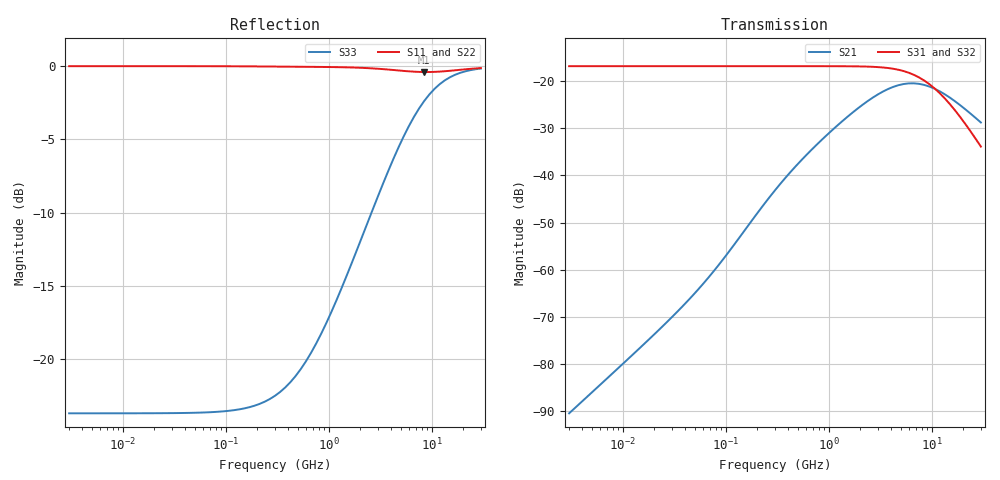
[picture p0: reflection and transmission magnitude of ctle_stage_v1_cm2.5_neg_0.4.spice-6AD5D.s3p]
[Version] 2.0
# Hz S RI R 2000 2000 4000
[Number of Ports] 3
[Reference] 2000 2000 4000
!  Freq  ReS11  ImS11  ReS12  ImS12  ReS13  ImS13  ReS21  ImS21  ReS22  ImS22  ReS23  ImS23  ReS31  ImS31  ReS32  ImS32  ReS33  ImS33
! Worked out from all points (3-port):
!   81 points, 3 MHz to 30 GHz, reference per port
!   strongest paths, dB at 3 MHz, 30 MHz, 300 MHz, 3 GHz, 30 GHz:
!     S31: -16.9, -16.9, -16.9, -17.1, -33.9
!     S32: -16.9, -16.9, -16.9, -17.1, -33.9
!     S21: -90.4, -70.0, -43.2, -22.8, -28.8
!   lowest |S11| = -0.4 dB at 8.455 GHz (marker M1), VSWR 43.47
!   |S11| at or under -10 dB: nowhere
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[Number of Frequencies] 10
[Network Data]
3000000  1 -0.000983  -6.4e-07 3.02e-05  1.71e-08 1.49e-05
         -6.4e-07 3.02e-05  1 -0.000983  -1.71e-08 -1.49e-05
         0.1435 -0.000259  -0.1435 0.000259  0.0655 -0.000391
9486833  1 -0.00311  -6.39e-06 9.59e-05  1.71e-07 4.71e-05
         -6.39e-06 9.59e-05  1 -0.00311  -1.71e-07 -4.71e-05
         0.1435 -0.00082  -0.1435 0.00082  0.0655 -0.00124
2.123837e7  0.9999 -0.00695  -3.18e-05 0.000217  8.59e-07 0.000105
            -3.18e-05 0.000217  0.9999 -0.00695  -8.59e-07 -0.000105
            0.1435 -0.00184  -0.1435 0.00184  0.0655 -0.00277
3e8  0.9924 -0.0944  -0.00228 0.00657  0.000171 0.00148
     -0.00228 0.00657  0.9924 -0.0944  -0.000171 -0.00148
     0.1411 -0.0258  -0.1411 0.0258  0.0642 -0.0391
8.455149e8  0.9604 -0.2559  0.00171 0.0235  0.00131 0.00391
            0.00171 0.0235  0.9604 -0.2559  -0.00131 -0.00391
            0.1254 -0.0695  -0.1254 0.0695  0.0554 -0.1094
2.123837e9  0.7962 -0.5828  0.03 0.0472  0.00676 0.00664
            0.03 0.0472  0.7962 -0.5828  -0.00676 -0.00664
            0.0478 -0.1342  -0.0478 0.1342  0.00317 -0.2642
4.75468e9  0.3008 -0.9189  0.0858 0.0283  0.0149 -0.000903
           0.0858 0.0283  0.3008 -0.9189  -0.0149 0.000903
           -0.0998 -0.0854  0.0998 0.0854  -0.2038 -0.4878
8.455149e9  -0.2206 -0.9292  0.0872 -0.0253  0.00868 -0.011
            0.0872 -0.0253  -0.2206 -0.9292  -0.00868 0.011
            -0.0929 0.0397  0.0929 -0.0397  -0.5144 -0.5613
1.503562e10  -0.6316 -0.7289  0.0462 -0.0478  -0.00182 -0.00837
             0.0462 -0.0478  -0.6316 -0.7289  0.00182 0.00837
             -0.00512 0.0565  0.00512 -0.0565  -0.8007 -0.4467
3e10  -0.8828 -0.438  0.0136 -0.0337  -0.00285 -0.00139
      0.0136 -0.0337  -0.8828 -0.438  0.00285 0.00139
      0.0164 0.0118  -0.0164 -0.0118  -0.9492 -0.2502
[End]
